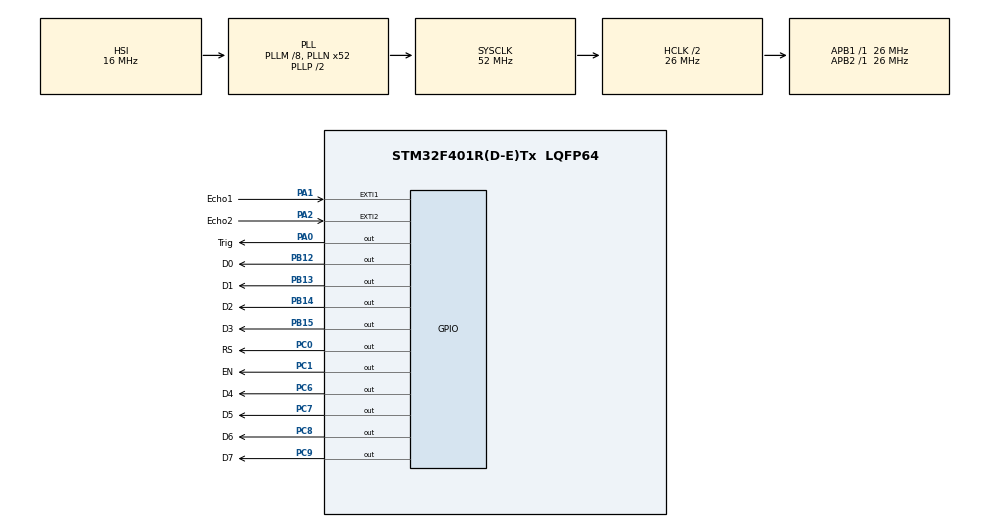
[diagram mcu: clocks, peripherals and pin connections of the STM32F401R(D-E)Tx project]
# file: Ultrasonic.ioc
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Mcu.Family=STM32F4
Mcu.Name=STM32F401R(D-E)Tx
Mcu.Package=LQFP64
NVIC.EXTI1_IRQn=true\:1\:0\:true\:false\:true\:true\:true
NVIC.EXTI2_IRQn=true\:1\:0\:true\:false\:true\:true\:true
NVIC.PriorityGroup=NVIC_PRIORITYGROUP_4
PA0-WKUP.GPIO_Label=Trig
PA0-WKUP.Signal=GPIO_Output
PA1.GPIO_Label=Echo1
PA1.GPIO_ModeDefaultEXTI=GPIO_MODE_IT_RISING
PA1.GPIO_PuPd=GPIO_NOPULL
PA1.Signal=GPXTI1
PA2.GPIO_Label=Echo2
PA2.GPIO_ModeDefaultEXTI=GPIO_MODE_IT_FALLING
PA2.Signal=GPXTI2
PB12.GPIO_Label=D0
PB12.Signal=GPIO_Output
PB13.GPIO_Label=D1
PB13.Signal=GPIO_Output
PB14.GPIO_Label=D2
PB14.Signal=GPIO_Output
PB15.GPIO_Label=D3
PB15.Signal=GPIO_Output
PC0.GPIO_Label=RS
PC0.Signal=GPIO_Output
PC1.GPIO_Label=EN
PC1.Signal=GPIO_Output
PC6.GPIO_Label=D4
PC6.Signal=GPIO_Output
PC7.GPIO_Label=D5
PC7.Signal=GPIO_Output
PC8.GPIO_Label=D6
PC8.Signal=GPIO_Output
PC9.GPIO_Label=D7
PC9.Signal=GPIO_Output
ProjectManager.HeapSize=0x200
ProjectManager.StackSize=0x400
ProjectManager.TargetToolchain=STM32CubeIDE
RCC.48MHZClocksFreq_Value=26000000
RCC.AHBCLKDivider=RCC_SYSCLK_DIV2
RCC.AHBFreq_Value=26000000
RCC.APB1Freq_Value=26000000
RCC.APB1TimFreq_Value=26000000
RCC.APB2Freq_Value=26000000
RCC.APB2TimFreq_Value=26000000
RCC.CortexFreq_Value=26000000
RCC.HCLKFreq_Value=26000000
RCC.HSE_VALUE=25000000
RCC.HSI_VALUE=16000000
RCC.LSE_VALUE=32768
RCC.PLLM=8
RCC.PLLN=52
RCC.SYSCLKFreq_VALUE=52000000
RCC.SYSCLKSource=RCC_SYSCLKSOURCE_PLLCLK
RCC.VCOOutputFreq_Value=104000000
TIM1.Period=10000
TIM1.Prescaler=25
VP_TIM1_VS_ClockSourceINT.Mode=Internal
board=custom

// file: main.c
/* USER CODE BEGIN Header */
/**
  ******************************************************************************
  * @file           : main.c
  * @brief          : Main program body
  ******************************************************************************
  * @attention
  *
  * <h2><center>&copy; Copyright (c) 2020 STMicroelectronics.
  * All rights reserved.</center></h2>
  *
  * This software component is licensed by ST under BSD 3-Clause license,
  * the "License"; You may not use this file except in compliance with the
  * License. You may obtain a copy of the License at:
  *                        opensource.org/licenses/BSD-3-Clause
  *
  ******************************************************************************
  */
/* USER CODE END Header */

#include "main.h"

/* USER CODE BEGIN Includes */
#include "STM_MY_LCD16X2.h"
#include "stdio.h"

/* USER CODE END Includes */

TIM_HandleTypeDef htim1;

/* USER CODE BEGIN PV */
uint32_t time = 0;
float distance ;

/* USER CODE END PV */

void SystemClock_Config(void);
static void MX_GPIO_Init(void);
static void MX_TIM1_Init(void);

int main(void)
{
  /* USER CODE BEGIN 1 */
	//int time = 0;
	//float distance;

  /* USER CODE END 1 */

  /* MCU Configuration--------------------------------------------------------*/

  /* Reset of all peripherals, Initializes the Flash interface and the Systick. */
  HAL_Init();

  /* Configure the system clock */
  SystemClock_Config();

  /* Initialize all configured peripherals */
  MX_GPIO_Init();
  MX_TIM1_Init();
  /* USER CODE BEGIN 2 */
  LCD1602_Begin8BIT(GPIOC,GPIO_PIN_0,GPIO_PIN_1,GPIOB,GPIO_PIN_12,GPIO_PIN_13,GPIO_PIN_14,GPIO_PIN_15,GPIOC,GPIO_PIN_6,GPIO_PIN_7,GPIO_PIN_8,GPIO_PIN_9);
  HAL_TIM_Base_Start(&htim1);

  /* USER CODE END 2 */

  /* Infinite loop */
  /* USER CODE BEGIN WHILE */
  while (1)
  {

	  HAL_GPIO_WritePin(GPIOA, GPIO_PIN_0, GPIO_PIN_SET);
	  HAL_Delay(1);
	  HAL_GPIO_WritePin(GPIOA, GPIO_PIN_0, GPIO_PIN_RESET);
	  HAL_Delay (100);

	  distance = (float)time*0.165;

	  LCD1602_clear();
	  LCD1602_1stLine();
	  LCD1602_print("t: ");
	  LCD1602_PrintInt(time);
	  LCD1602_print(" ms");
	  LCD1602_2ndLine();
	  LCD1602_print("D: ");
	  LCD1602_PrintFloat(distance,2);
	  LCD1602_print(" mm");

	  //HAL_Delay (50);

    /* USER CODE END WHILE */

  }
}

void SystemClock_Config(void)
{
  RCC_OscInitTypeDef RCC_OscInitStruct = {0};
  RCC_ClkInitTypeDef RCC_ClkInitStruct = {0};

  /** Configure the main internal regulator output voltage
  */
  __HAL_RCC_PWR_CLK_ENABLE();
  __HAL_PWR_VOLTAGESCALING_CONFIG(PWR_REGULATOR_VOLTAGE_SCALE2);
  /** Initializes the CPU, AHB and APB busses clocks
  */
  RCC_OscInitStruct.OscillatorType = RCC_OSCILLATORTYPE_HSI;
  RCC_OscInitStruct.HSIState = RCC_HSI_ON;
  RCC_OscInitStruct.HSICalibrationValue = RCC_HSICALIBRATION_DEFAULT;
  RCC_OscInitStruct.PLL.PLLState = RCC_PLL_ON;
  RCC_OscInitStruct.PLL.PLLSource = RCC_PLLSOURCE_HSI;
  RCC_OscInitStruct.PLL.PLLM = 8;
  RCC_OscInitStruct.PLL.PLLN = 52;
  RCC_OscInitStruct.PLL.PLLP = RCC_PLLP_DIV2;
  RCC_OscInitStruct.PLL.PLLQ = 4;
  if (HAL_RCC_OscConfig(&RCC_OscInitStruct) != HAL_OK)
  {
    Error_Handler();
  }
  /** Initializes the CPU, AHB and APB busses clocks
  */
  RCC_ClkInitStruct.ClockType = RCC_CLOCKTYPE_HCLK|RCC_CLOCKTYPE_SYSCLK
                              |RCC_CLOCKTYPE_PCLK1|RCC_CLOCKTYPE_PCLK2;
  RCC_ClkInitStruct.SYSCLKSource = RCC_SYSCLKSOURCE_PLLCLK;
  RCC_ClkInitStruct.AHBCLKDivider = RCC_SYSCLK_DIV2;
  RCC_ClkInitStruct.APB1CLKDivider = RCC_HCLK_DIV1;
  RCC_ClkInitStruct.APB2CLKDivider = RCC_HCLK_DIV1;

  if (HAL_RCC_ClockConfig(&RCC_ClkInitStruct, FLASH_LATENCY_0) != HAL_OK)
  {
    Error_Handler();
  }
}

static void MX_TIM1_Init(void)
{

  TIM_ClockConfigTypeDef sClockSourceConfig = {0};
  TIM_MasterConfigTypeDef sMasterConfig = {0};

  htim1.Instance = TIM1;
  htim1.Init.Prescaler = 25;
  htim1.Init.CounterMode = TIM_COUNTERMODE_UP;
  htim1.Init.Period = 10000;
  htim1.Init.ClockDivision = TIM_CLOCKDIVISION_DIV1;
  htim1.Init.RepetitionCounter = 0;
  htim1.Init.AutoReloadPreload = TIM_AUTORELOAD_PRELOAD_DISABLE;
  if (HAL_TIM_Base_Init(&htim1) != HAL_OK)
  {
    Error_Handler();
  }
  sClockSourceConfig.ClockSource = TIM_CLOCKSOURCE_INTERNAL;
  if (HAL_TIM_ConfigClockSource(&htim1, &sClockSourceConfig) != HAL_OK)
  {
    Error_Handler();
  }
  sMasterConfig.MasterOutputTrigger = TIM_TRGO_RESET;
  sMasterConfig.MasterSlaveMode = TIM_MASTERSLAVEMODE_DISABLE;
  if (HAL_TIMEx_MasterConfigSynchronization(&htim1, &sMasterConfig) != HAL_OK)
  {
    Error_Handler();
  }

}

static void MX_GPIO_Init(void)
{
  GPIO_InitTypeDef GPIO_InitStruct = {0};

  /* GPIO Ports Clock Enable */
  __HAL_RCC_GPIOC_CLK_ENABLE();
  __HAL_RCC_GPIOA_CLK_ENABLE();
  __HAL_RCC_GPIOB_CLK_ENABLE();

  /*Configure GPIO pin Output Level */
  HAL_GPIO_WritePin(GPIOC, RS_Pin|EN_Pin|D4_Pin|D5_Pin
                          |D6_Pin|D7_Pin, GPIO_PIN_RESET);

  /*Configure GPIO pin Output Level */
  HAL_GPIO_WritePin(Trig_GPIO_Port, Trig_Pin, GPIO_PIN_RESET);

  /*Configure GPIO pin Output Level */
  HAL_GPIO_WritePin(GPIOB, D0_Pin|D1_Pin|D2_Pin|D3_Pin, GPIO_PIN_RESET);

  /*Configure GPIO pins : RS_Pin EN_Pin D4_Pin D5_Pin
                           D6_Pin D7_Pin */
  GPIO_InitStruct.Pin = RS_Pin|EN_Pin|D4_Pin|D5_Pin
                          |D6_Pin|D7_Pin;
  GPIO_InitStruct.Mode = GPIO_MODE_OUTPUT_PP;
  GPIO_InitStruct.Pull = GPIO_NOPULL;
  GPIO_InitStruct.Speed = GPIO_SPEED_FREQ_LOW;
  HAL_GPIO_Init(GPIOC, &GPIO_InitStruct);

  /*Configure GPIO pin : Trig_Pin */
  GPIO_InitStruct.Pin = Trig_Pin;
  GPIO_InitStruct.Mode = GPIO_MODE_OUTPUT_PP;
  GPIO_InitStruct.Pull = GPIO_NOPULL;
  GPIO_InitStruct.Speed = GPIO_SPEED_FREQ_LOW;
  HAL_GPIO_Init(Trig_GPIO_Port, &GPIO_InitStruct);

  /*Configure GPIO pin : Echo1_Pin */
  GPIO_InitStruct.Pin = Echo1_Pin;
  GPIO_InitStruct.Mode = GPIO_MODE_IT_RISING;
  GPIO_InitStruct.Pull = GPIO_NOPULL;
  HAL_GPIO_Init(Echo1_GPIO_Port, &GPIO_InitStruct);

  /*Configure GPIO pin : Echo2_Pin */
  GPIO_InitStruct.Pin = Echo2_Pin;
  GPIO_InitStruct.Mode = GPIO_MODE_IT_FALLING;
  GPIO_InitStruct.Pull = GPIO_NOPULL;
  HAL_GPIO_Init(Echo2_GPIO_Port, &GPIO_InitStruct);

  /*Configure GPIO pins : D0_Pin D1_Pin D2_Pin D3_Pin */
  GPIO_InitStruct.Pin = D0_Pin|D1_Pin|D2_Pin|D3_Pin;
  GPIO_InitStruct.Mode = GPIO_MODE_OUTPUT_PP;
  GPIO_InitStruct.Pull = GPIO_NOPULL;
  GPIO_InitStruct.Speed = GPIO_SPEED_FREQ_LOW;
  HAL_GPIO_Init(GPIOB, &GPIO_InitStruct);

  /* EXTI interrupt init*/
  HAL_NVIC_SetPriority(EXTI1_IRQn, 1, 0);
  HAL_NVIC_EnableIRQ(EXTI1_IRQn);

  HAL_NVIC_SetPriority(EXTI2_IRQn, 1, 0);
  HAL_NVIC_EnableIRQ(EXTI2_IRQn);

}

/* USER CODE BEGIN 4 */
void HAL_GPIO_EXTI_Callback(uint16_t GPIO_PIN)
{
	if(GPIO_PIN == GPIO_PIN_1)
	{
		TIM1->CNT = 0;
	}
	if(GPIO_PIN == GPIO_PIN_2)
	{
		time = TIM1->CNT;
	}
}

/* USER CODE END 4 */

void Error_Handler(void)
{
}

/************************ (C) COPYRIGHT STMicroelectronics *****END OF FILE****/
